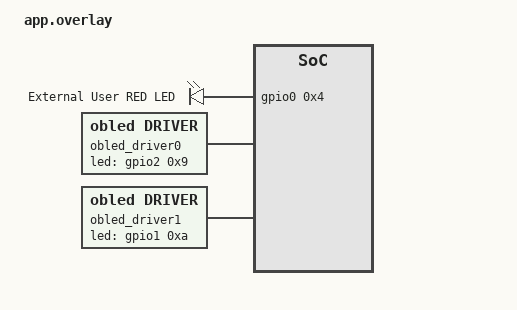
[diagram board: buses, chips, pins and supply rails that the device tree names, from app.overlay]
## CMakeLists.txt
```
cmake_minimum_required(VERSION 3.20.0)

list(APPEND BOARD_ROOT ${CMAKE_CURRENT_SOURCE_DIR}/..)
list(APPEND DTS_ROOT ${CMAKE_CURRENT_SOURCE_DIR}/..)

find_package(Zephyr REQUIRED)
project(my_zephyr_app)

target_sources(app PRIVATE src/main.cpp)
target_include_directories(app PRIVATE drivers/obled_driver)
add_subdirectory(drivers/obled_driver)
```

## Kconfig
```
menuconfig MY_LED_SUBSYS
    bool "LED Subsystem"
    default y

if MY_LED_SUBSYS

config APP_HEARTBEAT_PERIOD_MS
    int "Configurable heartbeat LED (100-2000)"
    range 100 2000
    default 500

endif # MY_LED_SUBSYS

source "Kconfig.zephyr"
rsource "drivers/obled_driver/Kconfig"
```

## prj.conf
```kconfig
CONFIG_GPIO=y
CONFIG_LOG=y
CONFIG_DEBUG_OPTIMIZATIONS=y
CONFIG_MY_LED_SUBSYS=y
CONFIG_OBLED_DRIVER=y
CONFIG_SHELL=y
```

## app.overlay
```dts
/ {
    leds {
        extled: ext_led {
            gpios = < &gpio0 0x4 0x0 >;
            label = "External User RED LED";
        };
    };
    aliases {
        external-led = &extled;
        app-led = &led0;
    };

    obled_driver0: obled_driver0 {
        compatible = "obled,driver";
        led-gpios = <&gpio2 0x9 GPIO_ACTIVE_HIGH>;
        status = "okay";
    };

    obled_driver1: obled_driver1 {
        compatible = "obled,driver";
        led-gpios = <&gpio1 0xa GPIO_ACTIVE_HIGH>;
        status = "okay";
    };
};
```

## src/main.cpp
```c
// #include <zephyr/drivers/gpio.h>
#include <zephyr/kernel.h>
#include <zephyr/logging/log.h>
#include <zephyr/drivers/sensor.h>
#include <zephyr/device.h>

#include "obled_driver.h"

/**
 * Home Work: Module 06 - Zephyr Driver Development
 * Controlling on board LED0 via GPIO device driver
 */

LOG_MODULE_REGISTER(main, LOG_LEVEL_INF);


int main(void)
{
    const struct device *devs[] = {
        DEVICE_DT_GET(DT_NODELABEL(obled_driver0)),
        DEVICE_DT_GET(DT_NODELABEL(obled_driver1)),
    };
    struct sensor_value val;

    LOG_INF("Testing on board LED (OBLED) device driver...");

    for (const struct device *dev : devs) {
        if (!device_is_ready(dev)) {
            LOG_ERR("%s not ready", dev->name);
            return -ENODEV;
        }
    }

    while (1) {
        for (const struct device *dev : devs) {
            uint32_t cnt = 0;
            /**
             * Since our new shell commands (sensor read/fetch) manipulate the same
             * onboard LEDs Give the shell commands priority and time so we can test
             * them without coliding with the llogic below Hence Sleep for 60 seconds
             * I could remove the entire logic below and keep the shell clean without
             * all the LOGs below, Since this wasnt comunicated explicitly during the
             * lecture i will keep it AS IS
            */
            k_msleep(1000 * 60);
            sensor_channel_get(dev, SENSOR_CHAN_ALL, &val);
            k_msleep(1000);
            sensor_sample_fetch(dev);
            obled_inc_counter(dev, &cnt);
            LOG_INF("%s counter = %u", dev->name, cnt);
            k_msleep(250);
        }
    }

    return 0;
}
```
